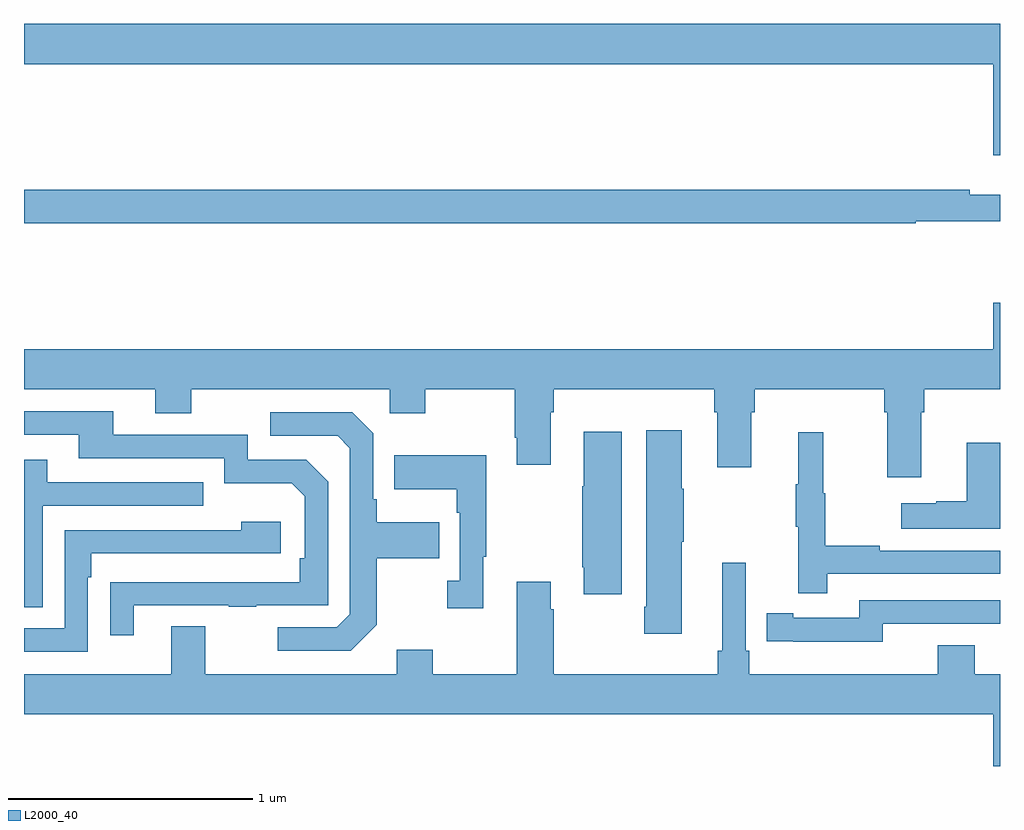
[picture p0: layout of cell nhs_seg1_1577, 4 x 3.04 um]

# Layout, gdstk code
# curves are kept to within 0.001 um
import gdstk
lib = gdstk.Library(unit=1e-6, precision=1e-09)
def P(c, l, *ps):  # polygons
    for p in ps: c.add(gdstk.Polygon(p, *l))
L2000_40 = (2000, 40)

nhs_seg1_1577 = lib.new_cell('nhs_seg1_1577')
P(nhs_seg1_1577, L2000_40, [(201,541.24),(197,541.24),(197,541.076),(200.972,541.076),(200.972,540.702),(201,540.702)],
  [(200.655,540.432),(201,540.432),(201,540.541),(200.876,540.541),(200.876,540.56),(197,540.56),(197,540.424),(200.655,540.424)],
  [(200.677,539.648),(200.69,539.648),(200.69,539.744),(201,539.744),(201,540.097),(200.972,540.097),(200.972,539.908),(197,539.908),(197,539.744),(197.537,539.744),(197.537,539.645),(197.685,539.645),(197.685,539.744),(198.498,539.744),(198.498,539.645),(198.645,539.645),(198.645,539.744),(199.012,539.744),(199.012,539.545),(199.019,539.545),(199.019,539.433),(199.159,539.433),(199.159,539.648),(199.172,539.648),(199.172,539.744),(199.829,539.744),(199.829,539.648),(199.841,539.648),(199.841,539.424),(199.981,539.424),(199.981,539.648),(199.994,539.648),(199.994,539.744),(200.525,539.744),(200.525,539.648),(200.537,539.648),(200.537,539.382),(200.677,539.382)],
  [(197.449,538.857),(197.839,538.857),(197.839,538.852),(197.951,538.852),(197.951,538.857),(198.246,538.857),(198.246,539.364),(198.156,539.454),(197.916,539.454),(197.916,539.556),(197.365,539.556),(197.365,539.652),(197.001,539.652),(197.001,539.556),(197.225,539.556),(197.225,539.46),(197.82,539.46),(197.82,539.357),(198.097,539.357),(198.15,539.304),(198.15,539.05),(198.13,539.05),(198.13,538.953),(197.353,538.952),(197.353,538.734),(197.449,538.734)],
  [(198.445,538.777),(198.445,539.05),(198.701,539.05),(198.701,539.197),(198.445,539.197),(198.445,539.293),(198.432,539.293),(198.432,539.562),(198.345,539.649),(198.009,539.649),(198.009,539.553),(198.285,539.553),(198.336,539.502),(198.336,538.821),(198.282,538.767),(198.039,538.767),(198.039,538.671),(198.339,538.671)],
  [(199.696,539.119),(199.704,539.119),(199.704,539.336),(199.696,539.336),(199.696,539.575),(199.55,539.575),(199.55,538.852),(199.543,538.852),(199.543,538.74),(199.696,538.74)],
  [(199.45,539.569),(199.295,539.569),(199.295,539.345),(199.288,539.345),(199.288,539.014),(199.295,539.014),(199.295,538.902),(199.45,538.902)],
  [(200.291,538.986),(201,538.986),(201,539.082),(200.507,539.082),(200.507,539.102),(200.284,539.102),(200.284,539.316),(200.276,539.316),(200.276,539.566),(200.174,539.566),(200.174,539.353),(200.163,539.353),(200.163,539.179),(200.174,539.179),(200.174,538.908),(200.291,538.908)],
  [(201,539.524),(200.864,539.524),(200.864,539.285),(200.738,539.285),(200.738,539.275),(200.595,539.275),(200.595,539.171),(201,539.171)],
  [(198.883,539.057),(198.895,539.057),(198.895,539.473),(198.517,539.473),(198.517,539.333),(198.774,539.333),(198.774,539.237),(198.786,539.237),(198.786,538.958),(198.735,538.958),(198.735,538.845),(198.883,538.845)],
  [(197.076,539.265),(197.735,539.265),(197.735,539.361),(197.095,539.361),(197.095,539.455),(197,539.455),(197,538.849),(197.076,538.849)],
  [(197.262,538.973),(197.275,538.973),(197.275,539.07),(198.052,539.07),(198.052,539.2),(197.891,539.2),(197.891,539.166),(197.166,539.166),(197.166,538.764),(197,538.764),(197,538.668),(197.262,538.668)],
  [(201,538.576),(200.897,538.576),(200.897,538.693),(200.744,538.693),(200.744,538.576),(199.973,538.576),(199.973,538.672),(199.959,538.672),(199.959,539.032),(199.862,539.032),(199.862,538.672),(199.843,538.672),(199.843,538.576),(199.172,538.576),(199.172,538.841),(199.159,538.841),(199.159,538.954),(199.019,538.954),(199.019,538.576),(198.675,538.576),(198.675,538.675),(198.527,538.675),(198.527,538.576),(197.743,538.576),(197.743,538.771),(197.603,538.771),(197.603,538.576),(197,538.576),(197,538.412),(200.972,538.412),(200.972,538.199),(201,538.199)],
  [(200.52,538.782),(200.98,538.782),(200.98,538.781),(201,538.781),(201,538.878),(200.424,538.878),(200.424,538.806),(200.152,538.806),(200.152,538.826),(200.044,538.826),(200.044,538.71),(200.152,538.71),(200.152,538.709),(200.52,538.709)])

lib.write_gds('nhs_seg1_1577.gds')
